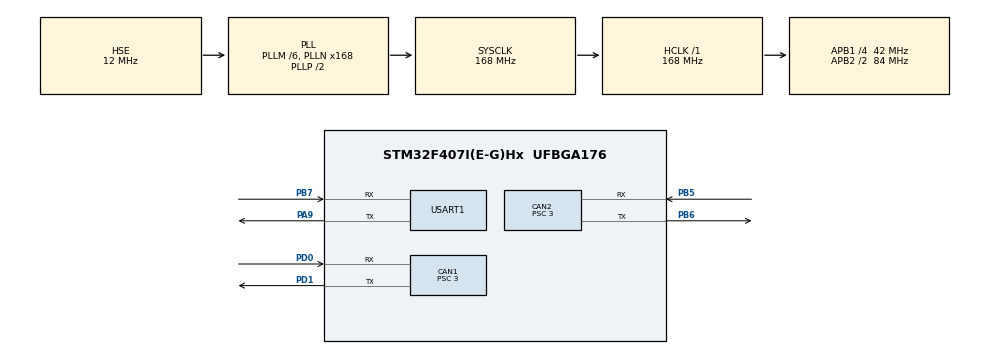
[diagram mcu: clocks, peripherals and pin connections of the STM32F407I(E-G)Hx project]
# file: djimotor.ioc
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CAN1.BS1=CAN_BS1_10TQ
CAN1.BS2=CAN_BS2_3TQ
CAN1.CalculateBaudRate=1000000
CAN1.CalculateTimeBit=1000
CAN1.CalculateTimeQuantum=71.42857142857143
CAN1.NART=ENABLE
CAN1.Prescaler=3
CAN1.TXFP=ENABLE
CAN2.BS1=CAN_BS1_10TQ
CAN2.BS2=CAN_BS2_3TQ
CAN2.CalculateBaudRate=1000000
CAN2.CalculateTimeBit=1000
CAN2.CalculateTimeQuantum=71.42857142857143
CAN2.NART=ENABLE
CAN2.Prescaler=3
CAN2.TXFP=ENABLE
Dma.Request0=USART1_RX
Dma.Request1=USART1_TX
Dma.USART1_RX.0.Direction=DMA_PERIPH_TO_MEMORY
Dma.USART1_RX.0.FIFOMode=DMA_FIFOMODE_DISABLE
Dma.USART1_RX.0.Instance=DMA2_Stream2
Dma.USART1_RX.0.MemDataAlignment=DMA_MDATAALIGN_BYTE
Dma.USART1_RX.0.MemInc=DMA_MINC_ENABLE
Dma.USART1_RX.0.Mode=DMA_NORMAL
Dma.USART1_RX.0.PeriphDataAlignment=DMA_PDATAALIGN_BYTE
Dma.USART1_RX.0.PeriphInc=DMA_PINC_DISABLE
Dma.USART1_RX.0.Priority=DMA_PRIORITY_LOW
Dma.USART1_TX.1.Direction=DMA_MEMORY_TO_PERIPH
Dma.USART1_TX.1.FIFOMode=DMA_FIFOMODE_DISABLE
Dma.USART1_TX.1.Instance=DMA2_Stream7
Dma.USART1_TX.1.MemDataAlignment=DMA_MDATAALIGN_BYTE
Dma.USART1_TX.1.MemInc=DMA_MINC_ENABLE
Dma.USART1_TX.1.Mode=DMA_NORMAL
Dma.USART1_TX.1.PeriphDataAlignment=DMA_PDATAALIGN_BYTE
Dma.USART1_TX.1.PeriphInc=DMA_PINC_DISABLE
Dma.USART1_TX.1.Priority=DMA_PRIORITY_LOW
Mcu.Family=STM32F4
Mcu.Name=STM32F407I(E-G)Hx
Mcu.Package=UFBGA176
NVIC.CAN1_RX0_IRQn=true\:0\:0\:false\:false\:true\:true\:true\:true
NVIC.CAN1_RX1_IRQn=true\:0\:0\:false\:false\:true\:true\:true\:true
NVIC.CAN2_RX0_IRQn=true\:0\:0\:false\:false\:true\:true\:true\:true
NVIC.CAN2_RX1_IRQn=true\:0\:0\:false\:false\:true\:true\:true\:true
NVIC.DMA2_Stream2_IRQn=true\:0\:0\:false\:false\:true\:false\:true\:true
NVIC.DMA2_Stream7_IRQn=true\:0\:0\:false\:false\:true\:false\:true\:true
NVIC.PriorityGroup=NVIC_PRIORITYGROUP_4
NVIC.USART1_IRQn=true\:0\:0\:false\:false\:true\:true\:true\:true
PA13.Mode=Serial_Wire
PA13.Signal=SYS_JTMS-SWDIO
PA14.Mode=Serial_Wire
PA14.Signal=SYS_JTCK-SWCLK
PA9.Mode=Asynchronous
PA9.Signal=USART1_TX
PB5.GPIO_Mode=GPIO_MODE_AF_PP
PB5.Mode=CAN_Activate
PB5.Signal=CAN2_RX
PB6.GPIO_Mode=GPIO_MODE_AF_PP
PB6.Mode=CAN_Activate
PB6.Signal=CAN2_TX
PB7.Mode=Asynchronous
PB7.Signal=USART1_RX
PD0.GPIO_Mode=GPIO_MODE_AF_PP
PD0.Mode=CAN_Activate
PD0.Signal=CAN1_RX
PD1.GPIO_Mode=GPIO_MODE_AF_PP
PD1.Mode=CAN_Activate
PD1.Signal=CAN1_TX
PH0-OSC_IN.Mode=HSE-External-Oscillator
PH0-OSC_IN.Signal=RCC_OSC_IN
PH1-OSC_OUT.Mode=HSE-External-Oscillator
PH1-OSC_OUT.Signal=RCC_OSC_OUT
ProjectManager.HeapSize=0x200
ProjectManager.StackSize=0x400
ProjectManager.TargetToolchain=CMake
RCC.48MHZClocksFreq_Value=84000000
RCC.AHBFreq_Value=168000000
RCC.APB1CLKDivider=RCC_HCLK_DIV4
RCC.APB1Freq_Value=42000000
RCC.APB1TimFreq_Value=84000000
RCC.APB2CLKDivider=RCC_HCLK_DIV2
RCC.APB2Freq_Value=84000000
RCC.APB2TimFreq_Value=168000000
RCC.CortexFreq_Value=168000000
RCC.HCLKFreq_Value=168000000
RCC.HSE_VALUE=12000000
RCC.HSI_VALUE=16000000
RCC.LSE_VALUE=32768
RCC.PLLM=6
RCC.PLLN=168
RCC.PLLSourceVirtual=RCC_PLLSOURCE_HSE
RCC.SYSCLKFreq_VALUE=168000000
RCC.SYSCLKSource=RCC_SYSCLKSOURCE_PLLCLK
RCC.VCOOutputFreq_Value=336000000
STMicroelectronics.X-CUBE-ALGOBUILD.1.5.0.LibraryCcDSPOoLibraryJjDSPOoLibrary=true
USART1.VirtualMode=VM_ASYNC
VP_STMicroelectronics.X-CUBE-ALGOBUILD_VS_DSPOoLibraryJjLibrary_1.5.0_1.5.0.Mode=DSPOoLibraryJjLibrary
board=custom

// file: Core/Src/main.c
/* USER CODE BEGIN Header */
/**
  ******************************************************************************
  * @file           : main.c
  * @brief          : Main program body
  ******************************************************************************
  * @attention
  *
  * Copyright (c) 2026 STMicroelectronics.
  * All rights reserved.
  *
  * This software is licensed under terms that can be found in the LICENSE file
  * in the root directory of this software component.
  * If no LICENSE file comes with this software, it is provided AS-IS.
  *
  ******************************************************************************
  */
/* USER CODE END Header */
#include "main.h"
#include "can.h"
#include "dma.h"
#include "usart.h"
#include "gpio.h"

/* USER CODE BEGIN Includes */
#include "DJI_motor.h"
#include "DMmotor.h"
#include "bsp_dwt.h"
/* USER CODE END Includes */

/* USER CODE BEGIN PV */
Motor_Init_Config_s config =
{
    .motor_type = M3508,  // 要注册的电机为3508电机
    .can_init_config =
    {
        .can_handle = &hcan1, // 挂载在CAN1
        .tx_id = 0x01,
        .rx_id = 0x11,
    },
  // 采用电机编码器角度与速度反馈,启用速度环和电流环,不反转,最外层闭环为速度环
    .controller_setting_init_config =
    {
        .angle_feedback_source = MOTOR_FEED,
        .outer_loop_type = CURRENT_LOOP,
        .close_loop_type = CURRENT_LOOP,
        .speed_feedback_source = MOTOR_FEED,
        .motor_reverse_flag = MOTOR_DIRECTION_NORMAL
    },
    // 电流环和速度环PID参数的设置,不采用计算优化则不需要传入Improve参数
    // 不使用其他数据来源(如IMU),不需要传入反馈数据变量指针
    .controller_param_init_config =
    {
        .current_PID = {
                .Improve = 0,
                .Kp = 1,
                .Ki = 0,
                .Kd = 0,
                .DeadBand = 0,
                .MaxOut = 16384,
              },

    }
};

/* USER CODE END PV */

void SystemClock_Config(void);

int main(void)
{

  /* MCU Configuration--------------------------------------------------------*/

  /* Reset of all peripherals, Initializes the Flash interface and the Systick. */
  HAL_Init();

  /* Configure the system clock */
  SystemClock_Config();

  /* USER CODE BEGIN SysInit */
  DWT_Init(168);  // 初始化DWT定时器，STM32F407为168MHz
  /* USER CODE END SysInit */

  /* Initialize all configured peripherals */
  MX_GPIO_Init();
  MX_DMA_Init();
  MX_CAN1_Init();
  MX_CAN2_Init();
  MX_USART1_UART_Init();
  /* USER CODE BEGIN 2 */

  BSPLogInit();
  /*
  DJIMotorInstance *djimotor = DJIMotorInit(&config);
  float ref_value = 600; // 设定值,可以修改为其他值或在循环中动态修改
  DJIMotorSetRef(djimotor, ref_value);
  */
  DMMotorInstance *dm_motor = DMMotorInit(&config);
  DMMotorSetRef(dm_motor, 0.0f);

  /* USER CODE END 2 */

  /* Infinite loop */
  /* USER CODE BEGIN WHILE */
  while (1)
  {
    //DJIMotorControl();  // 周期性调用控制函数
    DMMotorControl();
    SEGGER_RTT_printf(0, "position:%d\t\n", (int16_t)dm_motor->measure.position);
    /*
    char uart_buf[100];
    int len = sprintf(uart_buf, "%d,%d\r\n",(int16_t)ref_value, (int16_t)djimotor->measure.real_current);
    HAL_UART_Transmit(&huart1, (uint8_t *)uart_buf, len, HAL_MAX_DELAY);
    */
    HAL_Delay(2);
    /* USER CODE END WHILE */

  }
}

void SystemClock_Config(void)
{
  RCC_OscInitTypeDef RCC_OscInitStruct = {0};
  RCC_ClkInitTypeDef RCC_ClkInitStruct = {0};

  /** Configure the main internal regulator output voltage
  */
  __HAL_RCC_PWR_CLK_ENABLE();
  __HAL_PWR_VOLTAGESCALING_CONFIG(PWR_REGULATOR_VOLTAGE_SCALE1);

  /** Initializes the RCC Oscillators according to the specified parameters
  * in the RCC_OscInitTypeDef structure.
  */
  RCC_OscInitStruct.OscillatorType = RCC_OSCILLATORTYPE_HSE;
  RCC_OscInitStruct.HSEState = RCC_HSE_ON;
  RCC_OscInitStruct.PLL.PLLState = RCC_PLL_ON;
  RCC_OscInitStruct.PLL.PLLSource = RCC_PLLSOURCE_HSE;
  RCC_OscInitStruct.PLL.PLLM = 6;
  RCC_OscInitStruct.PLL.PLLN = 168;
  RCC_OscInitStruct.PLL.PLLP = RCC_PLLP_DIV2;
  RCC_OscInitStruct.PLL.PLLQ = 4;
  if (HAL_RCC_OscConfig(&RCC_OscInitStruct) != HAL_OK)
  {
    Error_Handler();
  }

  /** Initializes the CPU, AHB and APB buses clocks
  */
  RCC_ClkInitStruct.ClockType = RCC_CLOCKTYPE_HCLK|RCC_CLOCKTYPE_SYSCLK
                              |RCC_CLOCKTYPE_PCLK1|RCC_CLOCKTYPE_PCLK2;
  RCC_ClkInitStruct.SYSCLKSource = RCC_SYSCLKSOURCE_PLLCLK;
  RCC_ClkInitStruct.AHBCLKDivider = RCC_SYSCLK_DIV1;
  RCC_ClkInitStruct.APB1CLKDivider = RCC_HCLK_DIV4;
  RCC_ClkInitStruct.APB2CLKDivider = RCC_HCLK_DIV2;

  if (HAL_RCC_ClockConfig(&RCC_ClkInitStruct, FLASH_LATENCY_5) != HAL_OK)
  {
    Error_Handler();
  }
}

void Error_Handler(void)
{
  __disable_irq();
  while (1)
  {
  }
}
